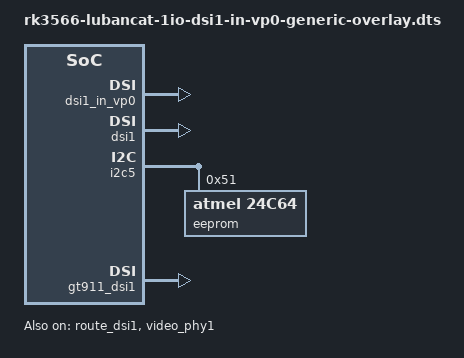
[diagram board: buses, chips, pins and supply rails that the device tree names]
/dts-v1/;
/plugin/;

#include <dt-bindings/gpio/gpio.h>
#include <dt-bindings/pinctrl/rockchip.h>
#include <dt-bindings/display/drm_mipi_dsi.h>
#include <dt-bindings/interrupt-controller/irq.h>

/ {

	fragment@0 {
		target = <&route_dsi1>;

		__overlay__ {
			status = "okay";
			connect = <&vp0_out_dsi1>;
		};
	};

	fragment@1 {
		target = <&video_phy1>;

		__overlay__ {
			status = "okay";
		};
	};

	fragment@2 {
		target = <&dsi1_in_vp0>;

		__overlay__ {
			status = "okay";
		};
	};

	fragment@3 {
		target = <&dsi1_in_vp1>;

		__overlay__ {
			status = "disabled";
		};
	};

	fragment@4 {
		target = <&dsi1>;

		__overlay__ {
			status = "okay";
		};
	};

	fragment@5 {
		target = <&dsi1_panel>;

		__overlay__ {
			status = "okay";

			enable-delay-ms = <35>;
			prepare-delay-ms = <6>;
			reset-delay-ms = <0>;
			init-delay-ms = <20>;
			unprepare-delay-ms = <0>;
			disable-delay-ms = <20>;

			size,width = <74>;
			size,height = <133>;

			dsi,flags = <(MIPI_DSI_MODE_VIDEO | MIPI_DSI_MODE_VIDEO_BURST | MIPI_DSI_MODE_LPM | MIPI_DSI_MODE_EOT_PACKET)>;
			dsi,format = <MIPI_DSI_FMT_RGB888>;
			dsi,lanes  = <4>;

			nvmem = <&eeprom1>;
			nvmem-names = "eeprom";
		};
	};

	fragment@6 {
		target = <&i2c5>;

		__overlay__ {
			status = "okay";

			eeprom1: eeprom@51 {
				compatible = "atmel,24c64";
				reg = <0x51>;
				label = "eeprom";
			};
		};
	};

	fragment@7 {
		target = <&gt911_dsi1>;

		__overlay__ {
			status = "okay";

			nvmem = <&eeprom1>;
			nvmem-names = "eeprom";
		};
	};

	fragment@8 {
		target = <&route_hdmi>;

		__overlay__ {
			status = "disabled";
		};
	};

	fragment@9 {
		target = <&hdmi_in_vp0>;

		__overlay__ {
			status = "disabled";
		};
	};

	fragment@10 {
		target = <&hdmi_in_vp1>;

		__overlay__ {
			status = "disabled";
		};
	};

	fragment@11 {
		target = <&hdmi>;

		__overlay__ {
			status = "disabled";
		};
	};
};
